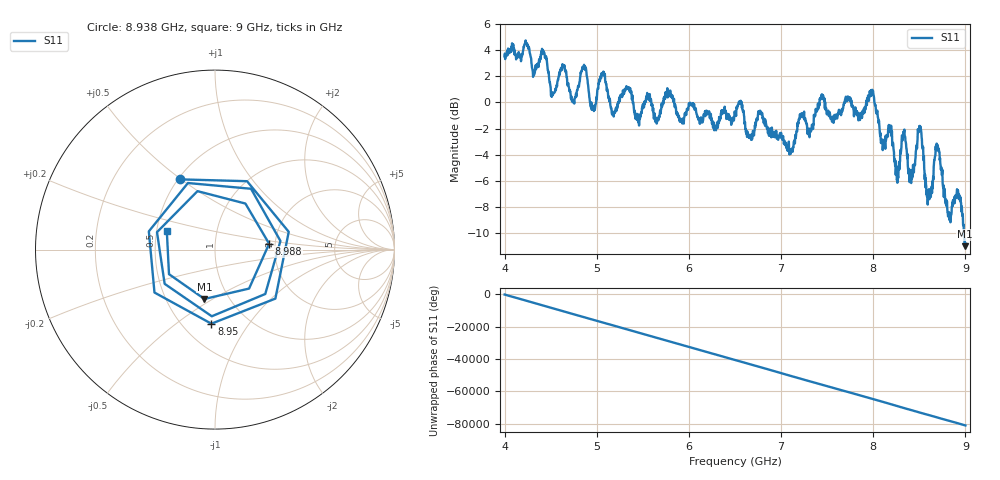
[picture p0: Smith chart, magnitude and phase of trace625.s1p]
! Created with skrf 1.8.0 (http://scikit-rf.org).
# Hz S RI R 50.0
!freq ReS11 ImS11
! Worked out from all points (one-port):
!   1601 points, 4 GHz to 9 GHz, reference 50 ohm
!   lowest |S11| = -11.0 dB at 8.994 GHz (marker M1), VSWR 1.78, Z = 38.5 - j23 ohm
!   |S11| at or under -10 dB: 8.98316 GHz to end of sweep
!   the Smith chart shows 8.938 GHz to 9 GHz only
!   S11 on the Smith chart (normalised r, x): 8.938 GHz: 0.51, +0.49; 8.95 GHz: 0.68, -0.68; 8.988 GHz: 1.86, +0.13; 9 GHz: 0.57, +0.13
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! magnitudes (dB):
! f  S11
! 4 GHz  3.5
! 4.425 GHz  3.9
! 4.528 GHz  0.7
! 4.625 GHz  2.8
! 4.744 GHz  0.1
! 4.859 GHz  2.8
! 4.956 GHz  -0.5
! 5.062 GHz  2.3
! 5.172 GHz  -0.9
! 5.25 GHz  0.1
! 5.875 GHz  -0.8
! 6.5 GHz  -0.8
! 7.125 GHz  -3.8
! 7.438 GHz  0.5
! 7.75 GHz  0.3
! 7.988 GHz  1.0
! 8.253 GHz  -5.3
! 8.331 GHz  -2.4
! 8.375 GHz  -4.8
! 8.506 GHz  -1.8
! 8.6 GHz  -6.9
! 8.694 GHz  -3.3
! 8.822 GHz  -8.4
! 8.938 GHz  -7.2
! 8.95 GHz  -7.7
! 8.988 GHz  -10.4
! 8.994 GHz  -11.0
! 9 GHz  -10.8
